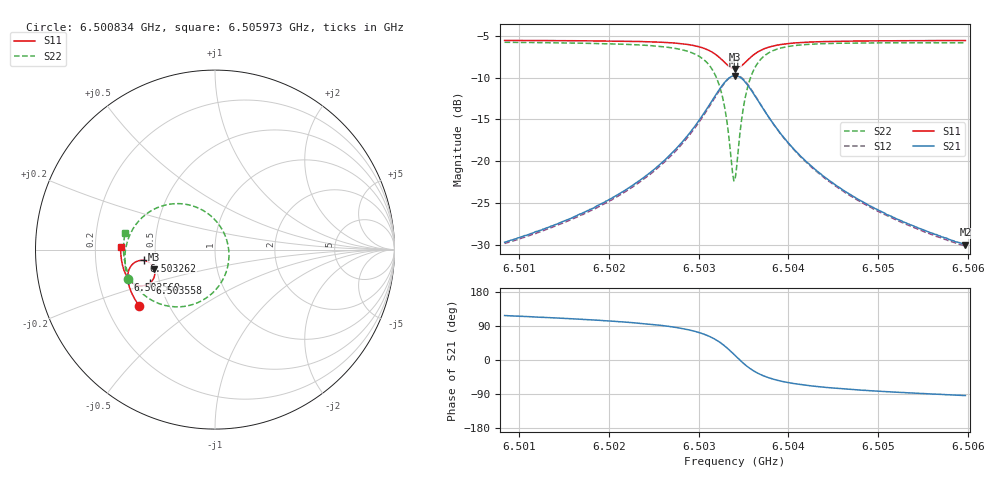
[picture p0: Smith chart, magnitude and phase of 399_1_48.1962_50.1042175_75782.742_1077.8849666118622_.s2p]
#  HZ  S  RI  R  50.00
! Rohde & Schwarz Vector Network Analyzer
! Rohde-Schwarz,ZNB20-2Port,1311601062101988,3.16
! Created: UTC 3/20/2024, 11:53:56 AM
! freq[Hz]  re:S11  im:S11  re:S21  im:S21  re:S12  im:S12  re:S22  im:S22
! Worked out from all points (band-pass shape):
!   401 points, 6.500834 GHz to 6.505973 GHz, reference 50 ohm
!   highest |S21| = -9.77 dB at 6.503404 GHz (marker M1); lowest = -30.0 dB at 6.505973 GHz (marker M2)
!   |S21| within 3 dB of the highest: 6.503148 GHz to 6.503661 GHz (512.8 kHz wide, 0.00789 % of centre)
!   lowest |S11| = -9.0 dB at 6.503404 GHz (marker M3), VSWR 2.10, Z = 24.2 - j6.05 ohm
!   |S11| at or under -10 dB: nowhere
!   |S22| runs from -22.3 to -5.8 dB; largest |S21 - S12| = 0.011
!   S11 on the Smith chart (normalised r, x): 6.500834 GHz: 0.34, -0.30; 6.502569 GHz: 0.33, -0.15; 6.503262 GHz: 0.43, -0.06; 6.503558 GHz: 0.44, -0.20; 6.505973 GHz: 0.31, +0.01
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6.5008345e9  -0.4208 -0.3164  -0.0151 0.0291  -0.0134 0.0293  -0.4862 -0.165
6.5016952e9  -0.4587 -0.2537  -0.0146 0.0465  -0.0122 0.0463  -0.5014 -0.0753
6.5021834e9  -0.4762 -0.2111  -0.0117 0.0663  -0.0087 0.0652  -0.4992 -0.0072
6.5025559e9  -0.4854 -0.1705  -0.00319 0.0946  0.000452 0.0923  -0.4813 0.0657
6.5025687e9  -0.4856 -0.1689  -0.00271 0.0958  0.000926 0.0937  -0.4801 0.0686
6.5028128e9  -0.4852 -0.1337  0.0153 0.1288  0.0192 0.1252  -0.442 0.1381
6.5029927e9  -0.4737 -0.1006  0.0498 0.1648  0.0529 0.1595  -0.3746 0.2041
6.5031597e9  -0.4395 -0.0675  0.1266 0.1982  0.1278 0.1919  -0.2336 0.2552
6.5032625e9  -0.3972 -0.0603  0.2112 0.1899  0.2114 0.1848  -0.0863 0.2286
6.5033138e9  -0.3717 -0.0688  0.2593 0.1626  0.2601 0.158  -0.00633 0.1723
6.5033781e9  -0.3451 -0.0947  0.3072 0.0998  0.3095 0.0949  0.0659 0.0516
6.5034038e9  -0.3386 -0.1091  0.3174 0.068  0.3206 0.0624  0.0771 -0.00759
6.5034295e9  -0.3356 -0.1245  0.3212 0.0348  0.3244 0.0281  0.0756 -0.0681
6.5034937e9  -0.3424 -0.1612  0.3038 -0.0426  0.306 -0.0521  0.0217 -0.2021
6.5035579e9  -0.3633 -0.1869  0.2617 -0.0963  0.2607 -0.1072  -0.0733 -0.2845
6.5036607e9  -0.4024 -0.202  0.1879 -0.1323  0.1828 -0.1417  -0.2215 -0.3189
6.5038277e9  -0.448 -0.1925  0.1073 -0.1295  0.1005 -0.1345  -0.3671 -0.2731
6.5040075e9  -0.4753 -0.1709  0.0632 -0.11  0.0571 -0.1122  -0.4384 -0.209
6.5042645e9  -0.496 -0.1411  0.0337 -0.0861  0.0289 -0.0866  -0.4813 -0.1376
6.5046499e9  -0.5115 -0.1014  0.0149 -0.0633  0.0116 -0.063  -0.5036 -0.0632
6.5051252e9  -0.521 -0.0577  0.00508 -0.0471  0.00273 -0.0465  -0.5099 0.00247
6.505973e9  -0.5259 0.0138  -0.00214 -0.0317  -0.00345 -0.0309  -0.5017 0.091
